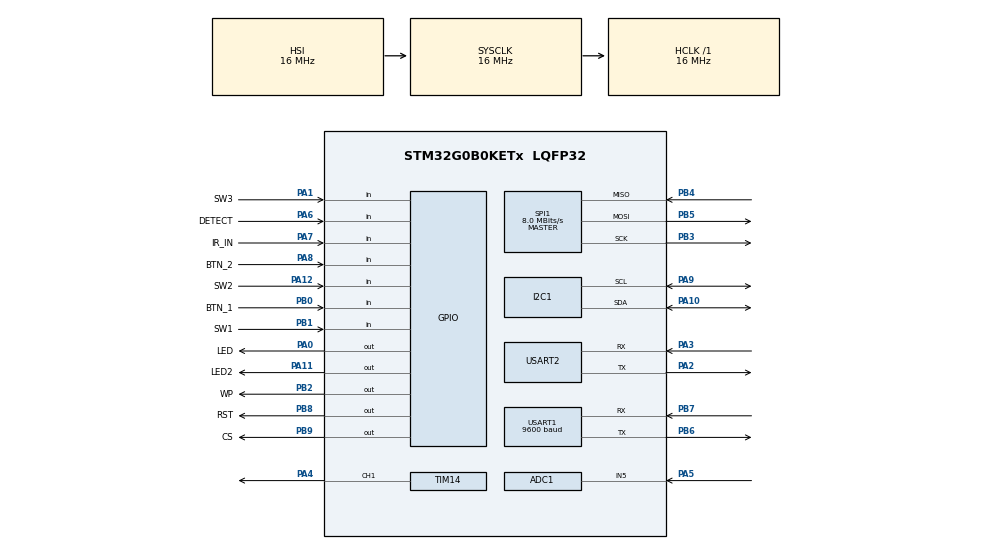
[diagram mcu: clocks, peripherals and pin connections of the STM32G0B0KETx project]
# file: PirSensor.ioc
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ADC1.Channel-0\#ChannelRegularConversion=ADC_CHANNEL_5
ADC1.ClockPrescaler=ADC_CLOCK_SYNC_PCLK_DIV4
ADC1.NbrOfConversionFlag=1
ADC1.Rank-0\#ChannelRegularConversion=1
ADC1.SamplingTime-0\#ChannelRegularConversion=ADC_SAMPLINGTIME_COMMON_1
ADC1.SamplingTimeCommon1=ADC_SAMPLETIME_160CYCLES_5
ADC1.SamplingTimeCommon2=ADC_SAMPLETIME_160CYCLES_5
ADC1.SelectedChannel=ADC_CHANNEL_5
ADC1.master=1
Mcu.Family=STM32G0
Mcu.Name=STM32G0B0KETx
Mcu.Package=LQFP32
NVIC.USART1_IRQn=true\:0\:0\:false\:false\:true\:true\:true\:true
NVIC.USART2_IRQn=true\:0\:0\:false\:false\:true\:true\:true\:true
PA0.GPIO_Label=LED
PA0.GPIO_ModeDefaultOutputPP=GPIO_MODE_OUTPUT_OD
PA0.GPIO_PuPd=GPIO_NOPULL
PA0.Signal=GPIO_Output
PA1.GPIO_Label=SW3
PA1.GPIO_PuPd=GPIO_PULLUP
PA1.Signal=GPIO_Input
PA10.Mode=I2C
PA10.Signal=I2C1_SDA
PA11\ [PA9].GPIO_Label=LED2
PA11\ [PA9].GPIO_ModeDefaultOutputPP=GPIO_MODE_OUTPUT_OD
PA11\ [PA9].GPIO_PuPd=GPIO_NOPULL
PA11\ [PA9].PinState=GPIO_PIN_SET
PA11\ [PA9].Signal=GPIO_Output
PA12\ [PA10].GPIO_Label=SW2
PA12\ [PA10].GPIO_PuPd=GPIO_PULLUP
PA12\ [PA10].Signal=GPIO_Input
PA2.Mode=Asynchronous
PA2.Signal=USART2_TX
PA3.Mode=Asynchronous
PA3.Signal=USART2_RX
PA4.Signal=S_TIM14_CH1
PA5.Mode=IN5
PA5.Signal=ADC1_IN5
PA6.GPIO_Label=DETECT
PA6.Signal=GPIO_Input
PA7.GPIO_Label=IR_IN
PA7.Signal=GPIO_Input
PA8.GPIO_Label=BTN_2
PA8.GPIO_PuPd=GPIO_PULLUP
PA8.Signal=GPIO_Input
PA9.Mode=I2C
PA9.Signal=I2C1_SCL
PB0.GPIO_Label=BTN_1
PB0.GPIO_PuPd=GPIO_PULLUP
PB0.Signal=GPIO_Input
PB1.GPIO_Label=SW1
PB1.GPIO_PuPd=GPIO_PULLUP
PB1.Signal=GPIO_Input
PB2.GPIO_Label=WP
PB2.Signal=GPIO_Output
PB3.Mode=Full_Duplex_Master
PB3.Signal=SPI1_SCK
PB4.Mode=Full_Duplex_Master
PB4.Signal=SPI1_MISO
PB5.Mode=Full_Duplex_Master
PB5.Signal=SPI1_MOSI
PB6.Mode=Asynchronous
PB6.Signal=USART1_TX
PB7.Mode=Asynchronous
PB7.Signal=USART1_RX
PB8.GPIO_Label=RST
PB8.Signal=GPIO_Output
PB9.GPIO_Label=CS
PB9.Signal=GPIO_Output
ProjectManager.HeapSize=0x200
ProjectManager.StackSize=0x400
ProjectManager.TargetToolchain=STM32CubeIDE
RCC.AHBFreq_Value=16000000
RCC.CortexFreq_Value=16000000
RCC.EXTERNAL_CLOCK_VALUE=48000
RCC.HCLKFreq_Value=16000000
RCC.HSE_VALUE=8000000
RCC.HSI_VALUE=16000000
RCC.LSE_VALUE=32768
RCC.SYSCLKFreq_VALUE=16000000
RCC.USBFreq_Value=64000000
RCC.VCOOutputFreq_Value=128000000
SH.S_TIM14_CH1.0=TIM14_CH1,PWM Generation1 CH1
SPI1.CalculateBaudRate=8.0 MBits/s
SPI1.Direction=SPI_DIRECTION_2LINES
SPI1.Mode=SPI_MODE_MASTER
SPI1.VirtualType=VM_MASTER
TIM1.Period=65534
TIM1.Prescaler=15
TIM14.Channel=TIM_CHANNEL_1
TIM14.Period=420
TIM14.Pulse=631
USART1.BaudRate=9600
USART1.VirtualMode-Asynchronous=VM_ASYNC
USART2.VirtualMode-Asynchronous=VM_ASYNC
VP_RTC_VS_RTC_Activate.Mode=RTC_Enabled
VP_TIM14_VS_ClockSourceINT.Mode=Enable_Timer
VP_TIM1_VS_ClockSourceINT.Mode=Internal
board=custom

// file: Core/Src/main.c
/* USER CODE BEGIN Header */
/**
  ******************************************************************************
  * @file           : main.c
  * @brief          : Main program body
  ******************************************************************************
  * @attention
  *
  * Copyright (c) 2024 STMicroelectronics.
  * All rights reserved.
  *
  * This software is licensed under terms that can be found in the LICENSE file
  * in the root directory of this software component.
  * If no LICENSE file comes with this software, it is provided AS-IS.
  *
  ******************************************************************************
  */
/* USER CODE END Header */
#include "main.h"

/* USER CODE BEGIN Includes */
#include "stm32g0xx_hal.h"
#include "pcb_config.h"
#include "usart.h"
#include <String.h>
#include "buttons.h"
#include "Protocol.h"
#include "APP_Web.h"
#include "String.h"
#include "socket.h"
#include "Infrared.h"
#include <math.h>
#include "loop.h"
#include "MyApp.h"
/* USER CODE END Includes */

/* USER CODE BEGIN PTD */
typedef enum
{
	INIT_STATUS_LED,
	IDLE_STATUS_LED,
	LOAD_USB_LED,
	BUTTON_PRESSED_LED_1,
	BUTTON_PRESSED_LED_2,
	BUTTON_PRESSED_LED_3,
	BUTTON_PRESSED_LED_4,
	LEARNLED,
	LEARNLED2,
	LEARNLED3,
	LEARNLED4
} LED_Status_State;
typedef enum
{
	IDLESTAT,
	BTN_PRESSED1,
	BTN_PRESSED2,
	USB_LOAD_INITIATED,
	LEARN_STATUS_LED,
	LEARN_STATUS_LED2
} LED_Status;
/* USER CODE END PTD */

/* USER CODE BEGIN PD */
#define SEND_TEST_IR 0
#define PUTCHAR_PROTOTYPE int __io_putchar(int ch)
/* USER CODE END PD */

ADC_HandleTypeDef hadc1;

I2C_HandleTypeDef hi2c1;

RTC_HandleTypeDef hrtc;

SPI_HandleTypeDef hspi1;

TIM_HandleTypeDef htim1;
TIM_HandleTypeDef htim14;

UART_HandleTypeDef huart1;
UART_HandleTypeDef huart2;

/* USER CODE BEGIN PV */
extern struct PCB_Config file;
extern uint32_t send_var;
extern uint64_t code_ON[MAX_NUMBER];
extern uint64_t code_OFF[MAX_NUMBER];
extern UART_HandleTypeDef huart1;
extern UART_HandleTypeDef huart2;
extern struct tv_protocol tv_protocol[3];
extern uint32_t RS232_command_ON;
extern uint32_t RS232_command_OFF;
extern uint32_t IR_command;
extern uint32_t IR_command_off;
extern uint32_t Temp_Treshold_Min;
extern uint32_t Temp_Treshold_Max;
extern int PIRAlarm;
extern int TempAlarm;
extern int RS232Alarm;
extern int IRAlarm;
extern IR_Receive_State_def IR_Receive_State;
extern IR_Receive_OFF_State_def IR_Receive_OFF_State;
extern Loop_State loop_state_process;
extern Motion_State motion_state_process;
extern uint8_t time_alarm_on_hh, time_alarm_on_mm, time_alarm_off_hh, time_alarm_off_mm;
extern uint8_t onSwitch;
extern uint32_t onDateTime;
extern uint8_t offSwitch;
extern uint32_t offDateTime;
extern uint8_t timezone;
extern bool timesynch_on_was_sent;
extern bool timesynch_off_was_sent;
uint32_t timesynch_counter = 0;
uint32_t recursion_counter = 0;
extern int Recursion_Alarm_ON[7];
extern int Recursion_Alarm_OFF[7];
extern int Recursion_Alarm_ON[7];
extern int Recursion_Alarm_OFF[7];
extern uint8_t time_alarm_on_hh, time_alarm_on_mm, time_alarm_off_hh, time_alarm_off_mm;
extern uint8_t time_alarm_on_sun, time_alarm_on_mon, time_alarm_on_tue, time_alarm_on_wed, time_alarm_on_thu, time_alarm_on_fri, time_alarm_on_sat;
extern uint8_t time_alarm_off_sun, time_alarm_off_mon, time_alarm_off_tue, time_alarm_off_wed, time_alarm_off_thu, time_alarm_off_fri, time_alarm_off_sat;
int sw1_instantaneous = 0;
int sw2_instantaneous = 0;
int sw3_instantaneous = 0;
extern float realTimeZone;
uint32_t timestamp_1min_lock = 0;
uint32_t timestamp_100ms = 0;
uint32_t timestamp_algo = 0;
uint32_t timestamp_led = 0;
uint32_t timestamp_btn = 0;
uint32_t command_sent = 0;
struct PCB_Config pcb_config_read;
int locked = 1;
int on_receive = 1;
uint32_t tv_type = 1; // 0 = lg and 1 = samsung
uint32_t adcval = 0;
float adcval2;
float temperature_farenheit = 0;
bool start_pir = false;
int dechundred;
int decten;
int dec;
uint16_t temp_max;
int dechundred_min;
int decten_min;
int dec_min;
uint16_t temp_min;
uint32_t nec_start_delay = 4500; // 9000 LG and 4500 Samsung
float temperature_max_treshold;
float temperature_min_treshold;
void *vptr_test;
unsigned int allo, Number, RevNumber;
int device, subdevice, function_code, function_code_ff, full_ir_code_from_db;
int function_code = 0;
static LED_Status_State status_led_state = INIT_STATUS_LED;
LED_Status led2_status = IDLESTAT;
int count_led_status = 0;
uint32_t timestamp_status_led = 0;
uint8_t firmware_update = 0;
uint8_t loggin = 0;
/* USER CODE END PV */

void SystemClock_Config(void);
static void MX_GPIO_Init(void);
static void MX_ADC1_Init(void);
static void MX_USART1_UART_Init(void);
static void MX_I2C1_Init(void);
static void MX_SPI1_Init(void);
static void MX_TIM1_Init(void);
static void MX_TIM14_Init(void);
static void MX_USART2_UART_Init(void);
static void MX_RTC_Init(void);
/* USER CODE BEGIN PFP */
void USART2_ReInit(void);
void MeasureTemperature(int tempsensortype);
void TestIR();
void GetDeviceCodeNEC();
void TimeSyncAlgorithm();
void HeartBeatLedStart();
int dayofweek(time_t now, int tz_offset);
void RecursionAlarmAlgorithm();
void Status_Led();
/* USER CODE END PFP */

/* USER CODE BEGIN 0 */
pFunction JumpToApplication;
uint32_t JumpAddress;
/* USER CODE END 0 */

int main(void)
{

  /* MCU Configuration--------------------------------------------------------*/

  /* Reset of all peripherals, Initializes the Flash interface and the Systick. */
  HAL_Init();

  /* Configure the system clock */
  SystemClock_Config();

  /* Initialize all configured peripherals */
  MX_GPIO_Init();
  MX_ADC1_Init();
  MX_USART1_UART_Init();
  MX_I2C1_Init();
  MX_SPI1_Init();
  MX_TIM1_Init();
  MX_TIM14_Init();
  MX_USART2_UART_Init();
  MX_RTC_Init();
  /* USER CODE BEGIN 2 */
  /*
  if (((*(__IO uint32_t*)APPLICATION_ADDRESS) & 0x2FF00000 ) == 0x20000000)
  	{
  	 __disable_irq();
  	  SCB->VTOR = APPLICATION_ADDRESS;
  	  JumpAddress = *(__IO uint32_t*) (APPLICATION_ADDRESS + 4);
  	  JumpToApplication = (pFunction) JumpAddress;
  	  __set_MSP(*(__IO uint32_t*) APPLICATION_ADDRESS);
  	  JumpToApplication();
  	}*/
	SetPCB_Config();
	Set_tv_protocol();
	USART2_ReInit();
	SET_BIT(SYSCFG->CFGR1, (1 << 9));
	CLEAR_BIT(SYSCFG->CFGR1, (1 << 9));
	SET_BIT(SYSCFG->CFGR1, (1 << 9));
	ReadAndSetConfig();
	Calculate_Temperatures_Offsets();
	Send_Version_Data();
	// PWM for the IR sending
	HAL_TIM_PWM_Start(&htim14, TIM_CHANNEL_1);
	TIM14->CCR1 = VAR;
	// 1us timer
	HAL_TIM_Base_Start(&htim1);
	// take t0 for the main loop
	timestamp_100ms = HAL_GetTick();
	HAL_ADC_Start(&hadc1);
	// Start temp adc measurement
	HAL_ADC_PollForConversion(&hadc1, 1000);
	adcval = HAL_ADC_GetValue(&hadc1);
	adcval2 = adcval * 3.3 / 4095 * 100;
	temperature_farenheit = (adcval2 * 9.0 / 5.0) + 30.25;
	HAL_ADC_Stop(&hadc1);
	init_the_thing();
	Init_WebAPP();
	timestamp_led = HAL_GetTick();
	// GET app t0
	timestamp_btn = HAL_GetTick();
	timesynch_counter = HAL_GetTick();
	recursion_counter = HAL_GetTick();
	char stringrer[] = "PCB Board Initialization done2, starting loop";
	LogToBufferLog(stringrer, sizeof(stringrer));
  /* USER CODE END 2 */

  /* Infinite loop */
  /* USER CODE BEGIN WHILE */
  while (1)
  {
	if (locked) Task_WebAPP();
	if(firmware_update) NVIC_SystemReset();
	Uart_process();
	if (start_pir) Motion_Detection_Process();
	// Blink LED1 each 500 ms
	Status_Led();
	HeartBeatLedStart();
	// Buttons reading process
	Btn1_Process();
	Btn2_Process();
	// Btn3_Process();
	// Lock the IR receive process after 60s
	if (((HAL_GetTick() - timestamp_1min_lock) >= 60000) && !locked)		locked = true;
	// Keep receiving IR until locked
	if (!locked)
	{
		if (on_receive)
			IR_Receive_Process();
		else
			IR_Receive_Process_OFF();
	}
	// Read temperature each 10 sec
	if ((HAL_GetTick() - timestamp_100ms) >= 15000 && locked)
	{
		timestamp_100ms = HAL_GetTick();
		start_pir = true;
		MeasureTemperature(0);
	}
	//  Check buttons each 60 ms
	if ((HAL_GetTick() - timestamp_algo) >= 60)
	{
		timestamp_algo = HAL_GetTick();
		ButtonsAlgorithm();
	}
	// MAIN PIR sensor and temp sensor algorithm
	MainAlgorithm();
	TimeSyncAlgorithm();
	RecursionAlarmAlgorithm();
    /* USER CODE END WHILE */

  }
}

void SystemClock_Config(void)
{
  RCC_OscInitTypeDef RCC_OscInitStruct = {0};
  RCC_ClkInitTypeDef RCC_ClkInitStruct = {0};

  /** Configure the main internal regulator output voltage
  */
  HAL_PWREx_ControlVoltageScaling(PWR_REGULATOR_VOLTAGE_SCALE1);

  /** Initializes the RCC Oscillators according to the specified parameters
  * in the RCC_OscInitTypeDef structure.
  */
  RCC_OscInitStruct.OscillatorType = RCC_OSCILLATORTYPE_HSI|RCC_OSCILLATORTYPE_LSI;
  RCC_OscInitStruct.HSIState = RCC_HSI_ON;
  RCC_OscInitStruct.HSIDiv = RCC_HSI_DIV1;
  RCC_OscInitStruct.HSICalibrationValue = RCC_HSICALIBRATION_DEFAULT;
  RCC_OscInitStruct.LSIState = RCC_LSI_ON;
  RCC_OscInitStruct.PLL.PLLState = RCC_PLL_NONE;
  if (HAL_RCC_OscConfig(&RCC_OscInitStruct) != HAL_OK)
  {
    Error_Handler();
  }

  /** Initializes the CPU, AHB and APB buses clocks
  */
  RCC_ClkInitStruct.ClockType = RCC_CLOCKTYPE_HCLK|RCC_CLOCKTYPE_SYSCLK
                              |RCC_CLOCKTYPE_PCLK1;
  RCC_ClkInitStruct.SYSCLKSource = RCC_SYSCLKSOURCE_HSI;
  RCC_ClkInitStruct.AHBCLKDivider = RCC_SYSCLK_DIV1;
  RCC_ClkInitStruct.APB1CLKDivider = RCC_HCLK_DIV1;

  if (HAL_RCC_ClockConfig(&RCC_ClkInitStruct, FLASH_LATENCY_0) != HAL_OK)
  {
    Error_Handler();
  }
}

static void MX_ADC1_Init(void)
{

  ADC_ChannelConfTypeDef sConfig = {0};

  /** Configure the global features of the ADC (Clock, Resolution, Data Alignment and number of conversion)
  */
  hadc1.Instance = ADC1;
  hadc1.Init.ClockPrescaler = ADC_CLOCK_SYNC_PCLK_DIV4;
  hadc1.Init.Resolution = ADC_RESOLUTION_12B;
  hadc1.Init.DataAlign = ADC_DATAALIGN_RIGHT;
  hadc1.Init.ScanConvMode = ADC_SCAN_DISABLE;
  hadc1.Init.EOCSelection = ADC_EOC_SINGLE_CONV;
  hadc1.Init.LowPowerAutoWait = DISABLE;
  hadc1.Init.LowPowerAutoPowerOff = DISABLE;
  hadc1.Init.ContinuousConvMode = DISABLE;
  hadc1.Init.NbrOfConversion = 1;
  hadc1.Init.DiscontinuousConvMode = DISABLE;
  hadc1.Init.ExternalTrigConv = ADC_SOFTWARE_START;
  hadc1.Init.ExternalTrigConvEdge = ADC_EXTERNALTRIGCONVEDGE_NONE;
  hadc1.Init.DMAContinuousRequests = DISABLE;
  hadc1.Init.Overrun = ADC_OVR_DATA_PRESERVED;
  hadc1.Init.SamplingTimeCommon1 = ADC_SAMPLETIME_160CYCLES_5;
  hadc1.Init.SamplingTimeCommon2 = ADC_SAMPLETIME_160CYCLES_5;
  hadc1.Init.OversamplingMode = DISABLE;
  hadc1.Init.TriggerFrequencyMode = ADC_TRIGGER_FREQ_HIGH;
  if (HAL_ADC_Init(&hadc1) != HAL_OK)
  {
    Error_Handler();
  }

  /** Configure Regular Channel
  */
  sConfig.Channel = ADC_CHANNEL_5;
  sConfig.Rank = ADC_REGULAR_RANK_1;
  sConfig.SamplingTime = ADC_SAMPLINGTIME_COMMON_1;
  if (HAL_ADC_ConfigChannel(&hadc1, &sConfig) != HAL_OK)
  {
    Error_Handler();
  }
  /* USER CODE BEGIN ADC1_Init 2 */
  HAL_ADCEx_Calibration_Start(&hadc1);
  /* USER CODE END ADC1_Init 2 */

}

static void MX_I2C1_Init(void)
{

  hi2c1.Instance = I2C1;
  hi2c1.Init.Timing = 0x00303D5B;
  hi2c1.Init.OwnAddress1 = 0;
  hi2c1.Init.AddressingMode = I2C_ADDRESSINGMODE_7BIT;
  hi2c1.Init.DualAddressMode = I2C_DUALADDRESS_DISABLE;
  hi2c1.Init.OwnAddress2 = 0;
  hi2c1.Init.OwnAddress2Masks = I2C_OA2_NOMASK;
  hi2c1.Init.GeneralCallMode = I2C_GENERALCALL_DISABLE;
  hi2c1.Init.NoStretchMode = I2C_NOSTRETCH_DISABLE;
  if (HAL_I2C_Init(&hi2c1) != HAL_OK)
  {
    Error_Handler();
  }

  /** Configure Analogue filter
  */
  if (HAL_I2CEx_ConfigAnalogFilter(&hi2c1, I2C_ANALOGFILTER_ENABLE) != HAL_OK)
  {
    Error_Handler();
  }

  /** Configure Digital filter
  */
  if (HAL_I2CEx_ConfigDigitalFilter(&hi2c1, 0) != HAL_OK)
  {
    Error_Handler();
  }

}

static void MX_RTC_Init(void)
{

  /** Initialize RTC Only
  */
  hrtc.Instance = RTC;
  hrtc.Init.HourFormat = RTC_HOURFORMAT_24;
  hrtc.Init.AsynchPrediv = 127;
  hrtc.Init.SynchPrediv = 255;
  hrtc.Init.OutPut = RTC_OUTPUT_DISABLE;
  hrtc.Init.OutPutRemap = RTC_OUTPUT_REMAP_NONE;
  hrtc.Init.OutPutPolarity = RTC_OUTPUT_POLARITY_HIGH;
  hrtc.Init.OutPutType = RTC_OUTPUT_TYPE_OPENDRAIN;
  hrtc.Init.OutPutPullUp = RTC_OUTPUT_PULLUP_NONE;
  if (HAL_RTC_Init(&hrtc) != HAL_OK)
  {
    Error_Handler();
  }
  /* USER CODE BEGIN RTC_Init 2 */
  RTC_TimeTypeDef sTime = {0};
  RTC_DateTypeDef sDate = {0};
  sTime.Hours = 0x0;
	sTime.Minutes = 0x0;
	sTime.Seconds = 0x0;
	sTime.SubSeconds = 0x0;
	sTime.DayLightSaving = RTC_DAYLIGHTSAVING_NONE;
	sTime.StoreOperation = RTC_STOREOPERATION_RESET;
	if (HAL_RTC_SetTime(&hrtc, &sTime, RTC_FORMAT_BCD) != HAL_OK)
	{
	  Error_Handler();
	}
	sDate.WeekDay = RTC_WEEKDAY_MONDAY;
	sDate.Month = RTC_MONTH_JANUARY;
	sDate.Date = 0x1;
	sDate.Year = 0x0;

	if (HAL_RTC_SetDate(&hrtc, &sDate, RTC_FORMAT_BCD) != HAL_OK)
	{
	  Error_Handler();
	}
  /* USER CODE END RTC_Init 2 */

}

static void MX_SPI1_Init(void)
{

  /* SPI1 parameter configuration*/
  hspi1.Instance = SPI1;
  hspi1.Init.Mode = SPI_MODE_MASTER;
  hspi1.Init.Direction = SPI_DIRECTION_2LINES;
  hspi1.Init.DataSize = SPI_DATASIZE_8BIT;
  hspi1.Init.CLKPolarity = SPI_POLARITY_LOW;
  hspi1.Init.CLKPhase = SPI_PHASE_1EDGE;
  hspi1.Init.NSS = SPI_NSS_SOFT;
  hspi1.Init.BaudRatePrescaler = SPI_BAUDRATEPRESCALER_2;
  hspi1.Init.FirstBit = SPI_FIRSTBIT_MSB;
  hspi1.Init.TIMode = SPI_TIMODE_DISABLE;
  hspi1.Init.CRCCalculation = SPI_CRCCALCULATION_DISABLE;
  hspi1.Init.CRCPolynomial = 7;
  hspi1.Init.CRCLength = SPI_CRC_LENGTH_DATASIZE;
  hspi1.Init.NSSPMode = SPI_NSS_PULSE_ENABLE;
  if (HAL_SPI_Init(&hspi1) != HAL_OK)
  {
    Error_Handler();
  }

}

static void MX_TIM1_Init(void)
{

  TIM_ClockConfigTypeDef sClockSourceConfig = {0};
  TIM_MasterConfigTypeDef sMasterConfig = {0};

  htim1.Instance = TIM1;
  htim1.Init.Prescaler = 15;
  htim1.Init.CounterMode = TIM_COUNTERMODE_UP;
  htim1.Init.Period = 65534;
  htim1.Init.ClockDivision = TIM_CLOCKDIVISION_DIV1;
  htim1.Init.RepetitionCounter = 0;
  htim1.Init.AutoReloadPreload = TIM_AUTORELOAD_PRELOAD_DISABLE;
  if (HAL_TIM_Base_Init(&htim1) != HAL_OK)
  {
    Error_Handler();
  }
  sClockSourceConfig.ClockSource = TIM_CLOCKSOURCE_INTERNAL;
  if (HAL_TIM_ConfigClockSource(&htim1, &sClockSourceConfig) != HAL_OK)
  {
    Error_Handler();
  }
  sMasterConfig.MasterOutputTrigger = TIM_TRGO_RESET;
  sMasterConfig.MasterOutputTrigger2 = TIM_TRGO2_RESET;
  sMasterConfig.MasterSlaveMode = TIM_MASTERSLAVEMODE_DISABLE;
  if (HAL_TIMEx_MasterConfigSynchronization(&htim1, &sMasterConfig) != HAL_OK)
  {
    Error_Handler();
  }

}

static void MX_TIM14_Init(void)
{

  TIM_OC_InitTypeDef sConfigOC = {0};

  htim14.Instance = TIM14;
  htim14.Init.Prescaler = 0;
  htim14.Init.CounterMode = TIM_COUNTERMODE_UP;
  htim14.Init.Period = 420;
  htim14.Init.ClockDivision = TIM_CLOCKDIVISION_DIV1;
  htim14.Init.AutoReloadPreload = TIM_AUTORELOAD_PRELOAD_DISABLE;
  if (HAL_TIM_Base_Init(&htim14) != HAL_OK)
  {
    Error_Handler();
  }
  if (HAL_TIM_PWM_Init(&htim14) != HAL_OK)
  {
    Error_Handler();
  }
  sConfigOC.OCMode = TIM_OCMODE_PWM1;
  sConfigOC.Pulse = 631;
  sConfigOC.OCPolarity = TIM_OCPOLARITY_HIGH;
  sConfigOC.OCFastMode = TIM_OCFAST_DISABLE;
  if (HAL_TIM_PWM_ConfigChannel(&htim14, &sConfigOC, TIM_CHANNEL_1) != HAL_OK)
  {
    Error_Handler();
  }
  HAL_TIM_MspPostInit(&htim14);

}

static void MX_USART1_UART_Init(void)
{

  huart1.Instance = USART1;
  huart1.Init.BaudRate = 9600;
  huart1.Init.WordLength = UART_WORDLENGTH_8B;
  huart1.Init.StopBits = UART_STOPBITS_1;
  huart1.Init.Parity = UART_PARITY_NONE;
  huart1.Init.Mode = UART_MODE_TX_RX;
  huart1.Init.HwFlowCtl = UART_HWCONTROL_NONE;
  huart1.Init.OverSampling = UART_OVERSAMPLING_16;
  huart1.Init.OneBitSampling = UART_ONE_BIT_SAMPLE_DISABLE;
  huart1.Init.ClockPrescaler = UART_PRESCALER_DIV1;
  huart1.AdvancedInit.AdvFeatureInit = UART_ADVFEATURE_NO_INIT;
  if (HAL_UART_Init(&huart1) != HAL_OK)
  {
    Error_Handler();
  }
  if (HAL_UARTEx_SetTxFifoThreshold(&huart1, UART_TXFIFO_THRESHOLD_1_8) != HAL_OK)
  {
    Error_Handler();
  }
  if (HAL_UARTEx_SetRxFifoThreshold(&huart1, UART_RXFIFO_THRESHOLD_1_8) != HAL_OK)
  {
    Error_Handler();
  }
  if (HAL_UARTEx_DisableFifoMode(&huart1) != HAL_OK)
  {
    Error_Handler();
  }

}

static void MX_USART2_UART_Init(void)
{

  huart2.Instance = USART2;
  huart2.Init.BaudRate = 115200;
  huart2.Init.WordLength = UART_WORDLENGTH_8B;
  huart2.Init.StopBits = UART_STOPBITS_1;
  huart2.Init.Parity = UART_PARITY_NONE;
  huart2.Init.Mode = UART_MODE_TX_RX;
  huart2.Init.HwFlowCtl = UART_HWCONTROL_NONE;
  huart2.Init.OverSampling = UART_OVERSAMPLING_16;
  huart2.Init.OneBitSampling = UART_ONE_BIT_SAMPLE_DISABLE;
  huart2.Init.ClockPrescaler = UART_PRESCALER_DIV1;
  huart2.AdvancedInit.AdvFeatureInit = UART_ADVFEATURE_NO_INIT;
  if (HAL_UART_Init(&huart2) != HAL_OK)
  {
    Error_Handler();
  }
  if (HAL_UARTEx_SetTxFifoThreshold(&huart2, UART_TXFIFO_THRESHOLD_1_8) != HAL_OK)
  {
    Error_Handler();
  }
  if (HAL_UARTEx_SetRxFifoThreshold(&huart2, UART_RXFIFO_THRESHOLD_1_8) != HAL_OK)
  {
    Error_Handler();
  }
  if (HAL_UARTEx_DisableFifoMode(&huart2) != HAL_OK)
  {
    Error_Handler();
  }

}

static void MX_GPIO_Init(void)
{
  GPIO_InitTypeDef GPIO_InitStruct = {0};

  /* GPIO Ports Clock Enable */
  __HAL_RCC_GPIOB_CLK_ENABLE();
  __HAL_RCC_GPIOA_CLK_ENABLE();

  /*Configure GPIO pin Output Level */
  HAL_GPIO_WritePin(GPIOB, CS_Pin|WP_Pin|RST_Pin, GPIO_PIN_RESET);

  /*Configure GPIO pin Output Level */
  HAL_GPIO_WritePin(LED_GPIO_Port, LED_Pin, GPIO_PIN_RESET);

  /*Configure GPIO pin Output Level */
  HAL_GPIO_WritePin(LED2_GPIO_Port, LED2_Pin, GPIO_PIN_SET);

  /*Configure GPIO pins : CS_Pin WP_Pin RST_Pin */
  GPIO_InitStruct.Pin = CS_Pin|WP_Pin|RST_Pin;
  GPIO_InitStruct.Mode = GPIO_MODE_OUTPUT_PP;
  GPIO_InitStruct.Pull = GPIO_NOPULL;
  GPIO_InitStruct.Speed = GPIO_SPEED_FREQ_LOW;
  HAL_GPIO_Init(GPIOB, &GPIO_InitStruct);

  /*Configure GPIO pins : LED_Pin LED2_Pin */
  GPIO_InitStruct.Pin = LED_Pin|LED2_Pin;
  GPIO_InitStruct.Mode = GPIO_MODE_OUTPUT_OD;
  GPIO_InitStruct.Pull = GPIO_NOPULL;
  GPIO_InitStruct.Speed = GPIO_SPEED_FREQ_LOW;
  HAL_GPIO_Init(GPIOA, &GPIO_InitStruct);

  /*Configure GPIO pins : SW3_Pin BTN_2_Pin SW2_Pin */
  GPIO_InitStruct.Pin = SW3_Pin|BTN_2_Pin|SW2_Pin;
  GPIO_InitStruct.Mode = GPIO_MODE_INPUT;
  GPIO_InitStruct.Pull = GPIO_PULLUP;
  HAL_GPIO_Init(GPIOA, &GPIO_InitStruct);

  /*Configure GPIO pins : DETECT_Pin IR_IN_Pin */
  GPIO_InitStruct.Pin = DETECT_Pin|IR_IN_Pin;
  GPIO_InitStruct.Mode = GPIO_MODE_INPUT;
  GPIO_InitStruct.Pull = GPIO_NOPULL;
  HAL_GPIO_Init(GPIOA, &GPIO_InitStruct);

  /*Configure GPIO pins : BTN_1_Pin SW1_Pin */
  GPIO_InitStruct.Pin = BTN_1_Pin|SW1_Pin;
  GPIO_InitStruct.Mode = GPIO_MODE_INPUT;
  GPIO_InitStruct.Pull = GPIO_PULLUP;
  HAL_GPIO_Init(GPIOB, &GPIO_InitStruct);

}

/* USER CODE BEGIN 4 */
void USART2_ReInit(void)
{

	/* USER CODE BEGIN USART2_Init 0 */

	/* USER CODE END USART2_Init 0 */

	/* USER CODE BEGIN USART2_Init 1 */

	/* USER CODE END USART2_Init 1 */
	huart2.Instance = USART2;
	int baurate = ((uint32_t)(pcb_config.rs1[0] - '0') * 100000) +
				  ((uint32_t)(pcb_config.rs1[1] - '0') * 10000) +
				  ((uint32_t)(pcb_config.rs1[2] - '0') * 1000) +
				  ((uint32_t)(pcb_config.rs1[3] - '0') * 100) +
				  ((uint32_t)(pcb_config.rs1[4] - '0') * 10) +
				  ((uint32_t)(pcb_config.rs1[5] - '0'));

	changeBaudRate(baurate, pcb_config.rs2[0] - '0', pcb_config.rs3[0] - '0');

	huart2.Init.Parity = UART_PARITY_NONE;
	huart2.Init.Mode = UART_MODE_TX_RX;
	huart2.Init.HwFlowCtl = UART_HWCONTROL_NONE;
	huart2.Init.OverSampling = UART_OVERSAMPLING_16;
	huart2.Init.OneBitSampling = UART_ONE_BIT_SAMPLE_DISABLE;
	huart2.Init.ClockPrescaler = UART_PRESCALER_DIV1;
	huart2.AdvancedInit.AdvFeatureInit = UART_ADVFEATURE_NO_INIT;
	if (HAL_UART_Init(&huart2) != HAL_OK)
	{
		Error_Handler();
	}
	/* USER CODE BEGIN USART2_Init 2 */
	// HAL_UART_Receive_IT(&huart2, (uint8_t*)&rx_uart, 1); //Init the UART interruption for the first time
	/* USER CODE END USART2_Init 2 */
}
void ResetLoopProcess()
{
	loop_state_process = LOOP_INIT;
	command_sent = 0;
	motion_state_process = INITMOT;
}
void TestIR()
{
	// RC5_Send_Data(0x3012);
	// RC5_Send_Data(0x300C);
	//	  BurstRC5TV(0x300C);
	//	  RC5_Send_Data(0x300C);
	//		  Sharp_Send_Data(0x045A);
	//		  HAL_Delay(40);
	//		  Sharp_Send_Data(0x075A);
	//		  HAL_Delay(40);
	//		  Sharp_Send_Data(0x045A);
	//		 		  HAL_Delay(40);
	//		 		  Sharp_Send_Data(0x075A);

	//	  Sharp_Send_Data(0x41A2);
	//	  HAL_Delay(49.1);
	//	  Sharp_Send_Data(0x425D);
	//	  HAL_Delay(46.18);
	//	  Sharp_Send_Data(0x41A2);
	//	  HAL_Delay(48.1);
	//	  Sharp_Send_Data(0x425D);
	//	  HAL_Delay(46.18);
	//	  Sharp_Send_Data(0x41A2);

	//		  HAL_Delay(67.9);
	//		  Sharp_Send_Data(0x41A2);
	//
	//
	//		 		  HAL_Delay(67.9);
	//
	//		 		 Sharp_Send_Data(0x41A2);
	//		 				  HAL_Delay(67.9);
	//		 				  Sharp_Send_Data(0x425D);
	//		 				  HAL_Delay(67.9);
	//		 				  Sharp_Send_Data(0x41A2);
	// Sharp_Send_Data(0x425D);
	//		 		HAL_Delay(40);
	//		 		Sharp_Send_Data(0x41A2);
	//		 				  HAL_Delay(40);
	//		 				 Sharp_Send_Data(0x425D);

	//	  Sharp_Send_Data(0x425E);
	//	  HAL_Delay(40);
	//  Sharp_Send_Data(0x41A2);
	//	  HAL_Delay(40);
	// Sharp_Send_Data(0x425D);
	//  Sharp_Send_Data(0x425E);
	//		  HAL_Delay(40);
	//		  Sharp_Send_Data(0x41A2);
	//		  HAL_Delay(40);
	//		  Sharp_Send_Data(0x425D);

	//		  	  HAL_Delay(45);
	//		  	  //NEC_Start();
	//		  	  RC5_Send_Data(0x3800C);
	//		  	  HAL_Delay(45);
	//		  	 // NEC_Start();
	//		  	  RC5_Send_Data(0x300C);
	//
	//		  	HAL_Delay(45);
	//		  			  	 // NEC_Start();
	//		  			  	  RC5_Send_Data(0x3800C);
	//	 RC6TV(0x000C);
	// BurstRC6TV(0x000C);
	// BurstNEC(true);
	// IRSend_Var_NEC(0xEAC717E8); // addr ea c7 command 17e8
	// IRSend_Var_NEC(0x73577117);

	//		 IRSend_Var_NEC(0x57E3E817);
	//		 IRSend_Var_NEC(0x57E3E817);
	//		 IRSend_Var_NEC(0x57E3E817);

	//		 IRSend_Var_NEC(0x61A0F00F);
	//				 IRSend_Var_NEC(0x61A0F00F);
	//				 IRSend_Var_NEC(0x61A0F00F);
	//		 IRSend_Var_NEC(0xEAC717E8);
	//		 IRSend_Var_NEC(0xEAC717E8);
	//
	//		 IRSend_Var_NEC(0xC7EAE817);
	//		 IRSend_Var_NEC(0xC7EAE817);
	//		 IRSend_Var_NEC(0xC7EAE817);
	//
	//
	//		 IRSend_Var_NEC(0x17E8E357);
	//		 IRSend_Var_NEC(0x17E8E357);
	//		 IRSend_Var_NEC(0x17E8E357);

	//		 IRSend_Var_NEC(0xE35717E8);
	//		 		 IRSend_Var_NEC(0xE35717E8);
	//		 		 IRSend_Var_NEC(0xE35717E8);
	//
	//		 		IRSend_Var_NEC(0xAE7C17E8);
	//		 				 		 IRSend_Var_NEC(0xAE7C17E8);
	//		 				 		 IRSend_Var_NEC(0xAE7C17E8);
	//
	//
	//		 				 		IRSend_Var_NEC(0xAE7CE817);
	//		 				 		 IRSend_Var_NEC(0xAE7CE817);
	//		 				 		 IRSend_Var_NEC(0xAE7CE817);

	// BurstRC5TV(0x3012);
	//		  IRSend_Var_NEC(0xE0E040BF);
	//		  IRSend_Var_NEC(0xE0E040BF);
	////		  IRSend_Var_NEC(0xE0E040BF);
	//		  NEC_Start();
	//		  			//Panasonic_Send_Data(0x022080003DBD);
	//		  			//Panasonic_Send_Data(0xBDBC00010440);
	//		  			Panasonic_Send_Data(0x40040100BCBD);
	//		  			 NEC_Stop();
	//		  			HAL_Delay(100);
	//		  			 NEC_Start();
	//		  					  			//Panasonic_Send_Data(0x022080003DBD);
	//		  					  			//Panasonic_Send_Data(0xBDBC00010440);
	//		  					  			Panasonic_Send_Data(0x40040100BCBD);
	//		  					  		 NEC_Stop();
	//		  					  		HAL_Delay(100);
	//		  					  		 NEC_Start();
	//		  					  				  			//Panasonic_Send_Data(0x022080003DBD);
	//		  					  				  			//Panasonic_Send_Data(0xBDBC00010440);
	//		  					  				  			Panasonic_Send_Data(0x40040100BCBD);
	//		  					  				  		 NEC_Stop();
	//  BurstSony12TV(0xA90);
}
void MeasureTemperature(int tempsensortype)
{
	HAL_ADC_Start(&hadc1);
	HAL_ADC_PollForConversion(&hadc1, 1000);
	adcval = HAL_ADC_GetValue(&hadc1);
	HAL_ADC_Stop(&hadc1);
	// HAL_ADC_Start(&hadc1);

	switch (tempsensortype)
	{

	case 0 /* "LM35DZ"*/:
		adcval2 = adcval * 3.3 / 4095 * 100; // LM35DZ
		break;
	case 1 /*"LMT86LPGM"*/:
		adcval2 = -10 / 109 * (1000 * adcval * 3.3 / 4095 - 2103); // LMT86LPGM
		break;
	case 2 /*"LMT84LPGM"*/:
		adcval2 = -adcval * 1.1 / 4095 - 893 / 600; // LMT84LPGM
		break;
	case 3 /*"LMT85LPGM"*/:
		adcval2 = 5 / 41 * (1569 - 1000 * adcval * 3.3 / 4095); // LMT85LPGM
		break;
	default:
		adcval2 = adcval * 3.3 / 4095 * 100; // LM35DZ
		break;
	}

	temperature_farenheit = (adcval2 * 9.0 / 5.0) + 30.25;
	Send_Temperature_Data(temperature_farenheit);
	// command_sent = 0;
	dechundred = (pcb_config.sSetTempTreshMax[0] - '0') * 100;
}

void ButtonsAlgorithm()
{
	function_code = (int)(BTN3_Is_Pressed()) * 4 + (int)(BTN2_Is_Pressed()) * 2 + (int)(BTN1_Is_Pressed());
	sw1_instantaneous = !(HAL_GPIO_ReadPin(SW1_GPIO_Port, SW1_Pin));
	sw2_instantaneous = !(HAL_GPIO_ReadPin(SW2_GPIO_Port, SW2_Pin));
	sw3_instantaneous = !(HAL_GPIO_ReadPin(SW3_GPIO_Port, SW3_Pin));

	function_code = sw1_instantaneous * 16 + sw2_instantaneous * 8 + sw3_instantaneous * 4 + (int)(BTN2_Is_Pressed()) * 2 + (int)(BTN1_Is_Pressed());

	switch (function_code)
	{

	case 18: // IR LEARN ON

		Send_BTN_ON(1, 8);
		SetBtnPress(false, 2);
		on_receive = 1;
		locked = false;
		IR_Receive_State = INIT_IR;
		IR_Receive_OFF_State = INIT2;
		timestamp_1min_lock = HAL_GetTick();
		Send_Version_Data();
		led2_status = LEARN_STATUS_LED;
		break;

	case 17: // IR LEARNING OFF

		Send_BTN_ON(1, 7);
		SetBtnPress(false, 1);
		locked = false;
		on_receive = 0;
		timestamp_1min_lock = HAL_GetTick();
		IR_Receive_State = INIT_IR;
		IR_Receive_OFF_State = INIT2;
		led2_status = LEARN_STATUS_LED2;
		break;

	case 10: // TRANSMIT OFF COMMAND
		led2_status = BTN_PRESSED2;
		SetBtnPress(false, 2);
		Send_BTN_ON(1, 0);
		Send_RS232_Command_OFF();
		IRSend_NEC(false);

		break;

	case 9: // SEND RSR 232 COMMAND
		Send_BTN_ON(0, 9);
		led2_status = BTN_PRESSED1;
		SetBtnPress(false, 1);
		Send_RS232_Command_ON();
		IRSend_NEC(true);

		break;

	case 6: // LOG USB 18
		Send_BTN_ON(0, 6);
		led2_status = LEARN_STATUS_LED;
		SetBtnPress(false, 2);
		loop2();
		loop3();
		Send_String("Logging to USB\n\r", sizeof("Logging to USB\n\r"));
		break;
	case 5: // READ PCB CONFIG 17
	{
		led2_status = BTN_PRESSED1;
		HAL_GPIO_WritePin(LED_GPIO_Port, LED_Pin, GPIO_PIN_RESET);
		SetBtnPress(false, 1);
		Send_BTN_ON(1, 7);

		MyApp();

		ReadAndSetConfig();
		Calculate_Temperatures_Offsets();
		int baurate = ((uint32_t)(pcb_config.rs1[0] - '0') * 100000) + ((uint32_t)(pcb_config.rs1[1] - '0') * 10000) + ((uint32_t)(pcb_config.rs1[2] - '0') * 1000) + ((uint32_t)(pcb_config.rs1[3] - '0') * 100) + ((uint32_t)(pcb_config.rs1[4] - '0') * 10) + ((uint32_t)(pcb_config.rs1[5] - '0'));

		changeBaudRate(baurate, pcb_config.rs2[0] - '0',
					   pcb_config.rs3[0] - '0');

		HAL_GPIO_WritePin(LED_GPIO_Port, LED_Pin, GPIO_PIN_SET);
		break;
	}
	default:
		led2_status = IDLESTAT;
		break;
	}
}

void TimeSyncAlgorithm()
{
	if ((HAL_GetTick() - timesynch_counter) >= 20000)
	{
		timesynch_counter = HAL_GetTick();

		if (onSwitch == 1 && timesynch_on_was_sent == 0)
		{

			if (get_epoch_time() >= onDateTime)
			{
				timesynch_on_was_sent = 1;

				if (pcb_config.sSetIRON[0] - '0')
				{
					IRSend_NEC(true);
					IRSend_NEC(true);
					IRSend_NEC(true);
				}
				if (pcb_config.sSetRS232ON[0] - '0')
					Send_RS232_Command_ON();
			}
		}

		if (offSwitch == 1 && timesynch_off_was_sent == 0)
		{

			if (get_epoch_time() >= offDateTime)
			{
				timesynch_off_was_sent = 1;

				if (pcb_config.sSetIRON[0] - '0')
				{
					IRSend_NEC(false);
					IRSend_NEC(false);
					IRSend_NEC(false);
				}
				if (pcb_config.sSetRS232ON[0] - '0')
					Send_RS232_Command_OFF();
			}
		}
	}
}

void RecursionAlarmAlgorithm()
{
	int timezoneHours = 0;

	if (ceilf(realTimeZone) == realTimeZone)
		timezoneHours = (int)realTimeZone;
	else
	{
		timezoneHours = floorf(realTimeZone);

		if (timezoneHours > 0)
			time_alarm_on_mm += 30;
		else
			time_alarm_on_mm -= 30;
	}
	if ((HAL_GetTick() - recursion_counter) >= 59000)
	{
		recursion_counter = HAL_GetTick();

		// Convert to number of days since 1 Jan 1970 1 Jan 1970 was a Thursday, so add 4 so Sunday is day 0, and mod 7
		time_t localtime = get_epoch_time() + (timezoneHours * 60 * 60);
		int days_since_epoch = localtime / 86400;
		int day_of_week = (days_since_epoch + 4) % 7;
		printf("Day of Week : %d\r\n", day_of_week);

		// When DAY alarm is active
		if (Recursion_Alarm_ON[day_of_week] == 1)
		{
			// Did we reach desired local time?
			if (Get_Hours() + timezoneHours == time_alarm_on_hh)
			{
				// Did we reach the desired minute?
				if (Get_Minutes() == time_alarm_on_mm)
				{
					printf("DAILY ALARM ON /R/N");

					if (pcb_config.sSetIRON[0] - '0')
					{
						IRSend_NEC(true);
						IRSend_NEC(true);
						IRSend_NEC(true);
					}
					if (pcb_config.sSetRS232ON[0] - '0')
						Send_RS232_Command_ON();
				}
			}
		}

		if (Recursion_Alarm_OFF[day_of_week] == 1)
		{
			// Did we reach desired local time?
			if (Get_Hours() + timezoneHours == time_alarm_off_hh)
			{
				// Did we reach the desired minute?
				if (Get_Minutes() == time_alarm_off_mm)
				{
					printf("DAILY ALARM OFF /R/N");

					if (pcb_config.sSetIRON[0] - '0')
					{
						IRSend_NEC(false);
						IRSend_NEC(false);
						IRSend_NEC(false);
					}
					if (pcb_config.sSetRS232ON[0] - '0')
						Send_RS232_Command_OFF();
				}
			}
		}
	}
}
void MainAlgorithm()
{
	if (pcb_config.loopon == 2 && pcb_config.loopoff == 2)
	{
		if (command_sent == 0)
		{
			if (pcb_config.sSetTempON[0] - '0' == 1)
			{

				if ((temperature_farenheit < temperature_min_treshold) || (temperature_farenheit > temperature_max_treshold))
				{
					if (pcb_config.sSetIRON[0] - '0')
					{
						IRSend_NEC(true);
						IRSend_NEC(true);
						IRSend_NEC(true);
					}
					if (pcb_config.sSetRS232ON[0] - '0')
						Send_RS232_Command_ON();

					command_sent = 1;
				}
			}
			if (pcb_config.sSetPIRON[0] - '0' == 1)
			{
				if (send_var == 1)
				{
					send_var = 0;

					if (pcb_config.sSetIRON[0] - '0')
					{
						if (Motion_Is_Detected())
						{
							IRSend_NEC(true);
							IRSend_NEC(true);
							IRSend_NEC(true);
						}
						else
						{
							IRSend_NEC(false);
							IRSend_NEC(false);
							IRSend_NEC(false);
						}
					}
					if (pcb_config.sSetRS232ON[0] - '0')
					{
						if (Motion_Is_Detected())
							Send_RS232_Command_ON();
						else
							Send_RS232_Command_OFF();
					}
					command_sent = 1;
				}
			}
		}
		else
		{
			if (pcb_config.sSetTempON[0] - '0' == 1)
			{

				if ((temperature_farenheit < temperature_min_treshold) && (temperature_farenheit < temperature_max_treshold))
				{
					if (pcb_config.sSetIRON[0] - '0')
					{
						IRSend_NEC(false);
						IRSend_NEC(false);
						IRSend_NEC(false);
					}
					if (pcb_config.sSetRS232ON[0] - '0')
						Send_RS232_Command_OFF();

					command_sent = 0;
				}
			}
			if (pcb_config.sSetPIRON[0] - '0' == 1)
			{
				if (send_var == 1)
				{
					send_var = 0;
					if (pcb_config.sSetIRON[0] - '0')
					{
						if (Motion_Is_Detected())
						{
							IRSend_NEC(true);
							IRSend_NEC(true);
							IRSend_NEC(true);
						}
						else
						{
							IRSend_NEC(false);
							IRSend_NEC(false);
							IRSend_NEC(false);
						}
					}
					if (pcb_config.sSetRS232ON[0] - '0')
					{
						if (Motion_Is_Detected())
							Send_RS232_Command_ON();
						else
							Send_RS232_Command_OFF();
					}

					command_sent = 0;
				}
			}
		}
	}
	else
	{
		loop_process();
	}
}
PUTCHAR_PROTOTYPE
{
	/* Place your implementation of fputc here */
	/* e.g. write a character to the USART1 and Loop until the end of transmission */
	HAL_UART_Transmit(&huart1, (uint8_t *)&ch, 1, 0xFFFF);

	return ch;
}

/* USER CODE BEGIN 1 */
/* Process States */

// Calculate the current day of the week as an integer
//   now - Unix timestamp like that from time(NULL)
//   tz_offset - Number of hours off from UTC; i.e. PST = -8
//   Return value: Sunday=0, Monday=1, ... Saturday=6
int dayofweek(time_t now, int tz_offset)
{
	// Calculate number of seconds since midnight 1 Jan 1970 local time
	time_t localtime = now + (tz_offset * 60 * 60);
	// Convert to number of days since 1 Jan 1970
	int days_since_epoch = localtime / 86400;
	// 1 Jan 1970 was a Thursday, so add 4 so Sunday is day 0, and mod 7
	int day_of_week = (days_since_epoch + 4) % 7;

	return day_of_week;
}

uint32_t count_led_status2 = 0;
bool stop_heart_beat_led = false;

void HeartBeatLed()
{
	if ((HAL_GetTick() - timestamp_led) >= 500)
	{
		timestamp_led = HAL_GetTick();
		HAL_GPIO_TogglePin(LED_GPIO_Port, LED_Pin);
	}
}
void HeartBeatLedStart()
{
	if ((HAL_GetTick() - timestamp_led) >= 500 && !stop_heart_beat_led)
	{
		count_led_status2++;
		timestamp_led = HAL_GetTick();
		HAL_GPIO_TogglePin(LED_GPIO_Port, LED_Pin);
	}
	if (count_led_status2 >= 20)
	{
		stop_heart_beat_led = true;
		HAL_GPIO_WritePin(LED_GPIO_Port, LED_Pin, GPIO_PIN_SET);
		count_led_status2 = 0;
	}
}

void Status_Led()
{
	switch (status_led_state)
	{
	case INIT_STATUS_LED:
	{
		status_led_state = IDLE_STATUS_LED;
		led2_status = IDLESTAT;
		break;
	}
	case IDLE_STATUS_LED:
	{
		if (led2_status == BTN_PRESSED1)
			status_led_state = BUTTON_PRESSED_LED_3;
		else if (led2_status == LEARN_STATUS_LED)
			status_led_state = LEARNLED;
		else if (led2_status == LEARN_STATUS_LED2)
			status_led_state = LEARNLED3;
		else if (led2_status == BTN_PRESSED2)
			status_led_state = BUTTON_PRESSED_LED_1;
		break;
	}
	case LOAD_USB_LED:
	{

		break;
	}
	case LEARNLED:
	{
		led2_status = IDLESTAT;
		timestamp_status_led = HAL_GetTick();
		status_led_state = LEARNLED2;
		break;
	}
	case LEARNLED2:
	{
		if ((HAL_GetTick() - timestamp_status_led) >= 100)
		{
			count_led_status++;
			timestamp_status_led = HAL_GetTick();
			HAL_GPIO_TogglePin(LED2_GPIO_Port, LED2_Pin);
		}
		if (count_led_status == 300)
		{
			status_led_state = IDLE_STATUS_LED;
			HAL_GPIO_WritePin(LED2_GPIO_Port, LED2_Pin, GPIO_PIN_SET);
			count_led_status = 0;
		}
		break;
		break;
	}
	case LEARNLED3:
	{
		led2_status = IDLESTAT;
		timestamp_status_led = HAL_GetTick();
		status_led_state = LEARNLED4;
		break;
	}
	case LEARNLED4:
	{
		if ((HAL_GetTick() - timestamp_status_led) >= 100)
		{
			count_led_status++;
			timestamp_status_led = HAL_GetTick();
			HAL_GPIO_TogglePin(LED_GPIO_Port, LED_Pin);
		}
		if (count_led_status == 300)
		{
			status_led_state = IDLE_STATUS_LED;
			HAL_GPIO_WritePin(LED_GPIO_Port, LED_Pin, GPIO_PIN_SET);
			count_led_status = 0;
		}

		break;
	}
	case BUTTON_PRESSED_LED_1:
		led2_status = IDLESTAT;
		timestamp_status_led = HAL_GetTick();
		status_led_state = BUTTON_PRESSED_LED_2;
		break;
	case BUTTON_PRESSED_LED_2:
	{
		if ((HAL_GetTick() - timestamp_status_led) >= 100)
		{
			count_led_status++;
			timestamp_status_led = HAL_GetTick();
			HAL_GPIO_TogglePin(LED2_GPIO_Port, LED2_Pin);
		}
		if (count_led_status == 20)
		{
			status_led_state = IDLE_STATUS_LED;
			HAL_GPIO_WritePin(LED2_GPIO_Port, LED2_Pin, GPIO_PIN_SET);
			count_led_status = 0;
		}
		break;
	}
	case BUTTON_PRESSED_LED_3:
		led2_status = IDLESTAT;
		timestamp_status_led = HAL_GetTick();
		status_led_state = BUTTON_PRESSED_LED_4;
		break;
	case BUTTON_PRESSED_LED_4:
	{
		if ((HAL_GetTick() - timestamp_status_led) >= 100)
		{
			count_led_status++;
			timestamp_status_led = HAL_GetTick();
			HAL_GPIO_TogglePin(LED_GPIO_Port, LED_Pin);
		}
		if (count_led_status == 20)
		{
			status_led_state = IDLE_STATUS_LED;
			HAL_GPIO_WritePin(LED_GPIO_Port, LED_Pin, GPIO_PIN_SET);
			count_led_status = 0;
		}
		break;
	}
	default:
		status_led_state = INIT_STATUS_LED;
	}
}

void Calculate_Temperatures_Offsets()
{

	dechundred = (pcb_config.sSetTempTreshMax[0] - '0') * 100;
	decten = (pcb_config.sSetTempTreshMax[1] - '0') * 10;
	dec = (pcb_config.sSetTempTreshMax[2] - '0');

	temp_max = dechundred + decten + dec;

	dechundred_min = (pcb_config.sSetTempTreshMin[0] - '0') * 100;
	decten_min = (pcb_config.sSetTempTreshMin[1] - '0') * 10;
	dec_min = (pcb_config.sSetTempTreshMin[2] - '0');

	temp_min = dechundred_min + decten_min + dec_min;

	temperature_max_treshold = (float)(temp_max) / 10;
	temperature_min_treshold = (float)(temp_min) / 10;

	// Send_Temperature_Data(temperature_max_treshold);
}

void WriteToEeprom()
{
	uint8_t buffercopy[sizeof(pcb_config)];

	// Write the default config into the eeprom
	memcpy(buffercopy, &pcb_config, sizeof(pcb_config));
	for (unsigned int i = 0; i < 255; i++)
	{
		HAL_I2C_Mem_Write(&hi2c1, EEPROM_C24_ADDR_WRITE, i, 1, &buffercopy[i], 1, 1000);
		HAL_Delay(15);
	}
	for (unsigned int i = 0; i < (sizeof(pcb_config) - 255); i++)
	{
		HAL_I2C_Mem_Write(&hi2c1, (EEPROM_C24_ADDR_WRITE + 2), i, 1, &buffercopy[i + 255], 1, 1000);
		HAL_Delay(15);
	}
	HAL_Delay(50);

	tv_type = pcb_config.tvtype[0] - '0';
	struct PCB_Config copy_config;
	memcpy(&copy_config, &pcb_config, sizeof(pcb_config));
	switch (tv_type)
	{

	case 0: // LG
	case 1: // Samsung

	default:
		to_hex(copy_config.sSetIR, 0);
		for (int i = 0; i < 4; i++)
			copy_config.sSetIR[i] = copy_config.sSetIR[2 * i + 1];
		to_hex(copy_config.sSetIROFF, 0);
		for (int i = 0; i < 4; i++)
			copy_config.sSetIROFF[i] = copy_config.sSetIROFF[2 * i + 1];

		code_ON[0] = ((uint64_t)(copy_config.sSetIR[0]) << 24) + ((uint64_t)(copy_config.sSetIR[1]) << 16) + ((uint64_t)(copy_config.sSetIR[2]) << 8) + (uint64_t)(copy_config.sSetIR[3]); // full_ir_code_from_db;//
		code_OFF[0] = ((uint64_t)(copy_config.sSetIROFF[0]) << 24) + ((uint64_t)(copy_config.sSetIROFF[1]) << 16) + ((uint64_t)(copy_config.sSetIROFF[2]) << 8) + (uint64_t)(copy_config.sSetIROFF[3]);
		break;

	case 2: // PANASONIC
		to_hex(copy_config.sSetIR, 0);
		for (int i = 0; i < 6; i++)
			copy_config.sSetIR[i] = copy_config.sSetIR[2 * i + 1];
		to_hex(copy_config.sSetIROFF, 0);
		for (int i = 0; i < 6; i++)
			copy_config.sSetIROFF[i] = copy_config.sSetIROFF[2 * i + 1];

		code_ON[0] = ((uint64_t)(copy_config.sSetIR[0]) << 40) + ((uint64_t)(copy_config.sSetIR[1]) << 32) + ((uint64_t)(copy_config.sSetIR[2]) << 24) + ((uint64_t)(copy_config.sSetIR[3]) << 16) + ((uint64_t)(copy_config.sSetIR[4]) << 8) + (uint64_t)(copy_config.sSetIR[5]); // full_ir_code_from_db;//
		code_OFF[0] = ((uint64_t)(copy_config.sSetIROFF[0]) << 40) + ((uint64_t)(copy_config.sSetIROFF[1]) << 32) + ((uint64_t)(copy_config.sSetIROFF[2]) << 24) + ((uint64_t)(copy_config.sSetIROFF[3]) << 16) + ((uint64_t)(copy_config.sSetIROFF[4]) << 8) + (uint64_t)(copy_config.sSetIROFF[5]);
		break;
	case 3: // SONY12
	case 6: // SHARP
	case 4: // RC5
	case 5:
		to_hex(copy_config.sSetIR, 0);
		for (int i = 0; i < 2; i++)
			copy_config.sSetIR[i] = copy_config.sSetIR[2 * i + 1];
		to_hex(copy_config.sSetIROFF, 0);
		for (int i = 0; i < 2; i++)
			copy_config.sSetIROFF[i] = copy_config.sSetIROFF[2 * i + 1];

		code_ON[0] = ((uint16_t)((uint32_t)(copy_config.sSetIR[0]) << 8) + copy_config.sSetIR[1]); // full_ir_code_from_db;//
		code_OFF[0] = ((uint16_t)((uint32_t)(copy_config.sSetIROFF[0]) << 8) + copy_config.sSetIROFF[1]);

		break;
	}
}

void ReadAndSetConfig()
{
	vptr_test = &pcb_config;
	uint8_t buffer[400];
	uint8_t buffer2[400];
	//	  // Read the config
	//	  for( int j = 0; j < 18; j++ ) //0 to page 18
	//	  {
	//		  HAL_I2C_Mem_Read (&hi2c1, EEPROM_C24_ADDR_READ, (j<<4), 1, &buffer2[16*j], 16, 1000); //read 16 bytes * 18 pages  = 288 bytes
	//		  HAL_Delay(50);
	//	  }

	// Read the config
	for (int j = 0; j < 255; j++)
	{
		HAL_I2C_Mem_Read(&hi2c1, EEPROM_C24_ADDR_READ, j, 1, &buffer2[j], 1, 1000);
		HAL_Delay(15);
	}
	for (int j = 0; j < (sizeof(pcb_config) - 255); j++)
	{
		HAL_I2C_Mem_Read(&hi2c1, (EEPROM_C24_ADDR_READ + 2), j, 1, &buffer2[j + 255], 1, 1000);
		HAL_Delay(15);
	}
	memcpy(&pcb_config_read, &buffer2, sizeof(pcb_config));
	HAL_Delay(20);

	// If we have never written default params, write default params, else do nothing and get params from eeprom
	if (pcb_config_read.MagicNumber[2] != MAGIC)
	{
		// Write the default config into the eeprom
		memcpy(buffer, vptr_test, sizeof(pcb_config));

		// HAL_I2C_Mem_Write(&hi2c1, EEPROM_C24_ADDR_WRITE, 0x0, 1, &buffer[0], 1, 1000);
		// HAL_I2C_Mem_Write(&hi2c1, EEPROM_C24_ADDR_WRITE, 0x1, 1, &buffer[1], 1, 1000);
		for (int i = 0; i < 255; i++)
		{
			HAL_I2C_Mem_Write(&hi2c1, EEPROM_C24_ADDR_WRITE, i, 1, &buffer[i], 1, 1000);
			HAL_Delay(15);
		}
		for (int i = 0; i < (sizeof(pcb_config) - 255); i++)
		{
			HAL_I2C_Mem_Write(&hi2c1, (EEPROM_C24_ADDR_WRITE + 2), i, 1, &buffer[i + 255], 1, 1000);
			HAL_Delay(15);
		}

		// Read the config
		for (int j = 0; j < 255; j++)
		{
			HAL_I2C_Mem_Read(&hi2c1, EEPROM_C24_ADDR_READ, j, 1, &buffer2[j], 1, 1000);
			HAL_Delay(15);
		}
		for (int j = 0; j < (sizeof(pcb_config) - 255); j++)
		{
			HAL_I2C_Mem_Read(&hi2c1, (EEPROM_C24_ADDR_READ + 2), j, 1, &buffer2[j + 255], 1, 1000);
			HAL_Delay(15);
		}
		//			  for( int j = 0; j < 18; j++ ) //0 to page 18
		//			  {
		//				  HAL_I2C_Mem_Write(&hi2c1, EEPROM_C24_ADDR_WRITE, (j<<4), 1, &buffer[16*j], 16, 1000); //read 16 bytes * 18 pages  = 288 bytes
		//				  HAL_Delay(50);
		//			  }
		//			  HAL_Delay(50);
		//
		//			  // Read the config
		//				  for( int j = 0; j < 18; j++ ) //0 to page 18
		//				  {
		//					  HAL_I2C_Mem_Read (&hi2c1, EEPROM_C24_ADDR_READ, (j<<4), 1, &buffer2[16*j], 16, 1000); //read 16 bytes * 18 pages  = 288 bytes
		//					  HAL_Delay(50);
		//				  }

		memcpy(&pcb_config_read, &buffer2, sizeof(pcb_config));
	}
	else

		memcpy(&pcb_config, &pcb_config_read, sizeof(pcb_config));

	tv_type = pcb_config.tvtype[0] - '0';
	struct PCB_Config copy_config;
	memcpy(&copy_config, &pcb_config, sizeof(pcb_config));
	switch (tv_type)
	{

	case 0: // LG
	case 1: // Samsung
	case 4: // RC5
	case 5:
	case 6:
	default:
		to_hex(copy_config.sSetIR, 0);
		for (int i = 0; i < 4; i++)
			copy_config.sSetIR[i] = copy_config.sSetIR[2 * i + 1];
		to_hex(copy_config.sSetIROFF, 0);
		for (int i = 0; i < 4; i++)
			copy_config.sSetIROFF[i] = copy_config.sSetIROFF[2 * i + 1];

		code_ON[0] = ((uint32_t)(copy_config.sSetIR[0]) << 24) + ((uint32_t)(copy_config.sSetIR[1]) << 16) + ((uint32_t)(copy_config.sSetIR[2]) << 8) + copy_config.sSetIR[3]; // full_ir_code_from_db;//
		code_OFF[0] = ((uint32_t)(copy_config.sSetIROFF[0]) << 24) + ((uint32_t)(copy_config.sSetIROFF[1]) << 16) + ((uint32_t)(copy_config.sSetIROFF[2]) << 8) + copy_config.sSetIROFF[3];
		break;

	case 2: // PANASONIC
		to_hex(copy_config.sSetIR, 0);
		for (int i = 0; i < 6; i++)
			copy_config.sSetIR[i] = copy_config.sSetIR[2 * i + 1];
		to_hex(copy_config.sSetIROFF, 0);
		for (int i = 0; i < 6; i++)
			copy_config.sSetIROFF[i] = copy_config.sSetIROFF[2 * i + 1];

		code_ON[0] = ((uint64_t)(copy_config.sSetIR[0]) << 40) + ((uint64_t)(copy_config.sSetIR[1]) << 32) + ((uint64_t)(copy_config.sSetIR[2]) << 24) + ((uint64_t)(copy_config.sSetIR[3]) << 16) + ((uint64_t)(copy_config.sSetIR[4]) << 8) + copy_config.sSetIR[5]; // full_ir_code_from_db;//
		code_OFF[0] = ((uint64_t)(copy_config.sSetIROFF[0]) << 40) + ((uint64_t)(copy_config.sSetIROFF[1]) << 32) + ((uint64_t)(copy_config.sSetIROFF[2]) << 24) + ((uint64_t)(copy_config.sSetIROFF[3]) << 16) + ((uint64_t)(copy_config.sSetIROFF[4]) << 8) + copy_config.sSetIROFF[5];
		break;
	case 3: // SONY12
		to_hex(copy_config.sSetIR, 0);
		for (int i = 0; i < 3; i++)
			copy_config.sSetIR[i] = copy_config.sSetIR[2 * i + 1];
		to_hex(copy_config.sSetIROFF, 0);
		for (int i = 0; i < 3; i++)
			copy_config.sSetIROFF[i] = copy_config.sSetIROFF[2 * i + 1];

		code_ON[0] = ((uint16_t)(copy_config.sSetIR[0]) << 16) + ((uint32_t)(copy_config.sSetIR[1]) << 8) + copy_config.sSetIR[2]; // full_ir_code_from_db;//
		code_OFF[0] = ((uint16_t)(copy_config.sSetIROFF[0]) << 16) + ((uint32_t)(copy_config.sSetIROFF[1]) << 8) + copy_config.sSetIROFF[2];

		break;
	}

	loopon = pcb_config.loopon;
	loopoff = pcb_config.loopoff;
	looptime = pcb_config.looptime;

	memcpy(&gWIZNETINFO.mac, &pcb_config.mac, 6);
	memcpy(&gWIZNETINFO.dns, &pcb_config.dns, 4);
	memcpy(&gWIZNETINFO.gw, &pcb_config.gw, 4);
	memcpy(&gWIZNETINFO.ip, &pcb_config.ip, 4);
	memcpy(&gWIZNETINFO.sn, &pcb_config.sn, 4);
	memcpy(&gWIZNETINFO.dhcp, &pcb_config.dhcp, 1);

	onSwitch = pcb_config.pcb_config_onSwitch;
	onDateTime = pcb_config.pcb_config_onDateTime;
	offSwitch = pcb_config.pcb_config_offSwitch;
	offDateTime = pcb_config.pcb_config_offDateTime;
	timezone = pcb_config.pcb_config_timezone;

	time_alarm_on_hh = pcb_config.pcb_config_time_alarm_on_hh;
	time_alarm_on_mm = pcb_config.pcb_config_time_alarm_on_mm;
	time_alarm_off_hh = pcb_config.pcb_config_time_alarm_off_hh;
	time_alarm_off_mm = pcb_config.pcb_config_time_alarm_off_mm;

	memcpy(Recursion_Alarm_ON, pcb_config.pcb_config_Recursion_Alarm_ON, sizeof(Recursion_Alarm_ON));
	memcpy(Recursion_Alarm_OFF, pcb_config.pcb_config_Recursion_Alarm_OFF, sizeof(Recursion_Alarm_OFF));

	time_alarm_on_sun = Recursion_Alarm_ON[0];
	time_alarm_on_mon = Recursion_Alarm_ON[1];
	time_alarm_on_tue = Recursion_Alarm_ON[2];
	time_alarm_on_wed = Recursion_Alarm_ON[3];
	time_alarm_on_thu = Recursion_Alarm_ON[4];
	time_alarm_on_fri = Recursion_Alarm_ON[5];
	time_alarm_on_sat = Recursion_Alarm_ON[6];

	time_alarm_off_sun = Recursion_Alarm_OFF[0];
	time_alarm_off_mon = Recursion_Alarm_OFF[1];
	time_alarm_off_tue = Recursion_Alarm_OFF[2];
	time_alarm_off_wed = Recursion_Alarm_OFF[3];
	time_alarm_off_thu = Recursion_Alarm_OFF[4];
	time_alarm_off_fri = Recursion_Alarm_OFF[5];
	time_alarm_off_sat = Recursion_Alarm_OFF[6];
}

void Send(uint8_t data)
{
	HAL_UART_Transmit(&huart1, &data, 1, 100);
}
uint8_t Receive(void)
{
	uint16_t data;
	HAL_UART_Receive(&huart1, (uint8_t*)&data, 2, 1000);
	return data;
}

T_u_int32 reverse_bits_test(T_u_int32 inval, int bits)
{
	if (bits > 0)
	{
		bits--;
		return reverse_bits_test(inval >> 1, bits) | ((inval & 1) << bits);
	}
	return 0;
}
void GetDeviceCodeNEC()
{
	//	device = reverse_bits_test(234, 8);
	//	subdevice = reverse_bits_test(199, 8);.

	//	function_code = reverse_bits_test(23, 8);
	//
	//	device = reverse_bits_test(134, 8);
	//		subdevice = reverse_bits_test(5, 8);
	//		function_code = reverse_bits_test(15, 8);
	//
	//	function_code_ff = 0xff - function_code;
	//
	//	full_ir_code_from_db = (uint32_t) (device << 24)
	//			+ (uint32_t) (subdevice << 16) + (uint32_t) (function_code << 8)
	//			+ function_code_ff;
	//
	//	uint64_t code48;
	//	const uint16_t manufacturer = 0x4004;
	//	const uint8_t device = 128;
	//	const uint8_t subdevice = 0;
	//	const uint8_t function = 61;
	//	uint8_t checksum = device ^ subdevice ^ function;
	//	code48 = (((uint64_t) manufacturer << 32) | ((uint64_t) device << 24)
	//			| ((uint64_t) subdevice << 16) | ((uint64_t) function << 8)
	//			| checksum);
	//	code_ON[0] = code48;
}
/* USER CODE END 4 */

void Error_Handler(void)
{
  __disable_irq();
  while (1)
  {
  }
}
